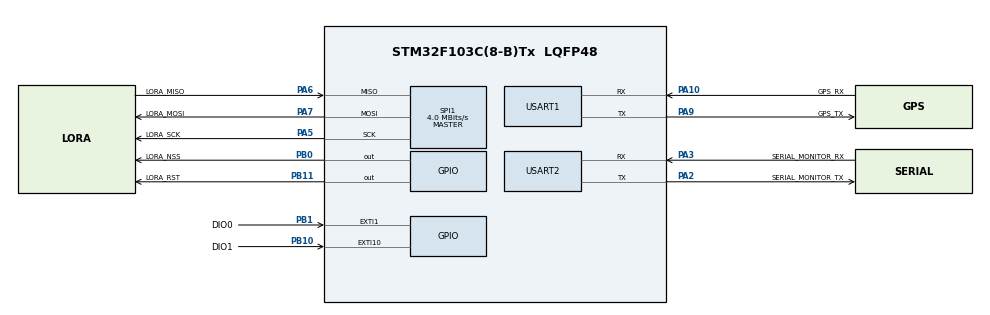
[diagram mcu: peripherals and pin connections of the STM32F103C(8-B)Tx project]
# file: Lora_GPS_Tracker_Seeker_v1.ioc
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Dma.Request0=USART1_RX
Dma.USART1_RX.0.Direction=DMA_PERIPH_TO_MEMORY
Dma.USART1_RX.0.Instance=DMA1_Channel5
Dma.USART1_RX.0.MemDataAlignment=DMA_MDATAALIGN_BYTE
Dma.USART1_RX.0.MemInc=DMA_MINC_ENABLE
Dma.USART1_RX.0.Mode=DMA_CIRCULAR
Dma.USART1_RX.0.PeriphDataAlignment=DMA_PDATAALIGN_BYTE
Dma.USART1_RX.0.PeriphInc=DMA_PINC_DISABLE
Dma.USART1_RX.0.Priority=DMA_PRIORITY_LOW
Mcu.Family=STM32F1
Mcu.Name=STM32F103C(8-B)Tx
Mcu.Package=LQFP48
NVIC.DMA1_Channel5_IRQn=true\:0\:0\:false\:false\:true\:false\:true\:true
NVIC.PriorityGroup=NVIC_PRIORITYGROUP_4
NVIC.USART1_IRQn=true\:0\:0\:false\:false\:true\:true\:true\:true
PA10.GPIO_Label=GPS_RX
PA10.Mode=Asynchronous
PA10.Signal=USART1_RX
PA2.GPIO_Label=SERIAL_MONITOR_TX
PA2.Mode=Asynchronous
PA2.Signal=USART2_TX
PA3.GPIO_Label=SERIAL_MONITOR_RX
PA3.Mode=Asynchronous
PA3.Signal=USART2_RX
PA5.GPIO_Label=LORA_SCK
PA5.Mode=Full_Duplex_Master
PA5.Signal=SPI1_SCK
PA6.GPIO_Label=LORA_MISO
PA6.Mode=Full_Duplex_Master
PA6.Signal=SPI1_MISO
PA7.GPIO_Label=LORA_MOSI
PA7.Mode=Full_Duplex_Master
PA7.Signal=SPI1_MOSI
PA9.GPIO_Label=GPS_TX
PA9.Mode=Asynchronous
PA9.Signal=USART1_TX
PB0.GPIO_Label=LORA_NSS
PB0.GPIO_Speed=GPIO_SPEED_FREQ_HIGH
PB0.PinState=GPIO_PIN_SET
PB0.Signal=GPIO_Output
PB1.GPIO_Label=DIO0
PB1.Signal=GPXTI1
PB10.GPIO_Label=DIO1
PB10.Signal=GPXTI10
PB11.GPIO_Label=LORA_RST
PB11.GPIO_Speed=GPIO_SPEED_FREQ_MEDIUM
PB11.PinState=GPIO_PIN_SET
PB11.Signal=GPIO_Output
ProjectManager.HeapSize=0x200
ProjectManager.StackSize=0x400
ProjectManager.TargetToolchain=STM32CubeIDE
RCC.APB1Freq_Value=8000000
RCC.APB2Freq_Value=8000000
SPI1.CalculateBaudRate=4.0 MBits/s
SPI1.Direction=SPI_DIRECTION_2LINES
SPI1.Mode=SPI_MODE_MASTER
SPI1.VirtualType=VM_MASTER
USART1.VirtualMode=VM_ASYNC
USART2.VirtualMode=VM_ASYNC
VP_SYS_VS_ND.Mode=No_Debug
board=custom

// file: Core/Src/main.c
/* USER CODE BEGIN Header */
/**
  ******************************************************************************
  * @file           : main.c
  * @brief          : Main program body
  ******************************************************************************
  * @attention
  *
  * Copyright (c) 2026 STMicroelectronics.
  * All rights reserved.
  *
  * This software is licensed under terms that can be found in the LICENSE file
  * in the root directory of this software component.
  * If no LICENSE file comes with this software, it is provided AS-IS.
  *
  ******************************************************************************
  */
/* USER CODE END Header */
#include "main.h"

/* USER CODE BEGIN Includes */
#include <stdio.h>
#include <stdint.h>
#include <string.h>
#include "LoRa.h"
#include "lwgps.h"			// To be added later when config GPS Functionality

/* USER CODE END Includes */

/* USER CODE BEGIN PD */
#define ROLE_TAG          0        /* 1 = tag board, 0 = seeker board */
#define GPS_RX_BUF_SIZE   1024U

#define MSG_WAKE   0x01
#define MSG_ACK    0x02
#define MSG_GPS    0x03
#define MY_TAG_ID  0x01
#define SYNC_WORD  0x12

#define TAG_SLEEP_MS      5000U
#define WAKE_PREAMBLE     6000U    /* symbols: ~6.1 s at SF7/125k, must be longer than TAG_SLEEP_MS */
#define TAG_ACK_WAIT_MS   10000U
#define SEEKER_LISTEN_MS  4000U
#define GPS_SEND_MS       1000U

/* USER CODE END PD */

SPI_HandleTypeDef hspi1;

UART_HandleTypeDef huart1;
UART_HandleTypeDef huart2;
DMA_HandleTypeDef hdma_usart1_rx;

/* USER CODE BEGIN PV */
/***************** GPS TESTING CODE BEGIN *********************/
static lwgps_t           hgps;                        /* lwgps handle */
static uint8_t           gps_dma_buf[GPS_RX_BUF_SIZE];
static volatile uint16_t gps_head = 0;                /* written in callback (where DMA has reached) */
static uint16_t          gps_tail = 0;                /* how far main loop has parsed */

/******************** GPS TESTING CODE END *******************/
char dbg[64];				// Added for printing debug

/* USER CODE END PV */

void SystemClock_Config(void);
static void MX_GPIO_Init(void);
static void MX_DMA_Init(void);
static void MX_USART2_UART_Init(void);
static void MX_USART1_UART_Init(void);
static void MX_SPI1_Init(void);
/* USER CODE BEGIN PFP */
void UART_Print(char *message);

/* USER CODE END PFP */

/* USER CODE BEGIN 0 */
/* Private user code ---------------------------------------------------------*/
/* USER CODE BEGIN 0 */
void UART_Print(char *message)
{
    HAL_UART_Transmit(&huart2,
                      (uint8_t*)message,
                      strlen(message),
                      HAL_MAX_DELAY);
}

static void lora_set_preamble(LoRa* l, uint16_t n)
{
    LoRa_write(l, 0x20, n >> 8);      // RegPreambleMsb
    LoRa_write(l, 0x21, n & 0xFF);    // RegPreambleLsb
}

/* 12-byte GPS packet: [type][id][seq][fix][lat e6 (4B)][lon e6 (4B)] */
//static uint8_t gps_pack(uint8_t* p, uint8_t seq)
//{
//    int32_t lat = (int32_t)((double)hgps.latitude  * 1000000.0);
//    int32_t lon = (int32_t)((double)hgps.longitude * 1000000.0);
//    p[0] = MSG_GPS; p[1] = MY_TAG_ID; p[2] = seq; p[3] = hgps.is_valid ? 1 : 0;
//    memcpy(&p[4], &lat, 4);
//    memcpy(&p[8], &lon, 4);
//    return 12;
//}
//
///********************* GPS TESTING FUNCTION BEGIN **************************/

/* Feed whatever new bytes DMA has dropped into the buffer to lwgps */
static void gps_poll(void)
{
    uint16_t head = gps_head;           /* single read of the volatile */

    if (head == gps_tail) {
//    	UART_Print("Inside head == gps_tail");
        return;                         /* nothing new */
    }

//    /* DEBUG: echo raw GPS bytes to serial monitor */
//    if (head > gps_tail) {
////    	UART_Print("Inside head > gps_tail... should print data\r\n");
//        HAL_UART_Transmit(&huart2, &gps_dma_buf[gps_tail], head - gps_tail, 100);
//    } else {
////    	UART_Print("Inside head < gps_tail... should print data\r\n");
//
//        HAL_UART_Transmit(&huart2, &gps_dma_buf[gps_tail], GPS_RX_BUF_SIZE - gps_tail, 100);
//        if (head > 0) HAL_UART_Transmit(&huart2, &gps_dma_buf[0], head, 100);
//    }

    if (head > gps_tail) {              /* simple case, no wrap */
        lwgps_process(&hgps, &gps_dma_buf[gps_tail], head - gps_tail);
    } else {                            /* wrapped: tail->end, then 0->head */
        lwgps_process(&hgps, &gps_dma_buf[gps_tail], GPS_RX_BUF_SIZE - gps_tail);
        if (head > 0) {
            lwgps_process(&hgps, &gps_dma_buf[0], head);
        }
    }
    gps_tail = head % GPS_RX_BUF_SIZE;
}

/* Print one line on USART2 */
//static void gps_print(void)
//{
//    char msg[200];
//    int  n;
////    int validity = hgps.is_valid;
////    snprintf(dbg, sizeof(dbg), "hgps.is_valid = %d\r\n", validity);
////    UART_Print(dbg);
//    if (!hgps.is_valid) {
////    	UART_Print("Still inside IF statement\r\n");
//        n = snprintf(msg, sizeof(msg),
//                     "No fix yet | sats in view: %d | sats in use: %d\r\n",
//                     (int)hgps.sats_in_view, (int)hgps.sats_in_use);
//    } else {
////    	UART_Print("Inside Else statement... Should be working now\r\n");
//        n = snprintf(msg, sizeof(msg), "Lat: %.6f  Lon: %.6f  Alt: %.1f m  Speed: %.1f km/h  " "Sats: %d  UTC: %02d:%02d:%02d\r\n",(double)hgps.latitude,(double)hgps.longitude,(double)hgps.altitude,(double)lwgps_to_speed(hgps.speed, LWGPS_SPEED_KPH),(int)hgps.sats_in_use,(int)hgps.hours, (int)hgps.minutes, (int)hgps.seconds);
//    }
//    HAL_UART_Transmit(&huart2, (uint8_t *)msg, (uint16_t)n, 100);
//}

/******************************************** GPS TESTING CODE END *****************************************/

/* USER CODE END 0 */

int main(void)
{

  /* MCU Configuration--------------------------------------------------------*/

  /* Reset of all peripherals, Initializes the Flash interface and the Systick. */
  HAL_Init();

  /* Configure the system clock */
  SystemClock_Config();

  /* Initialize all configured peripherals */
  MX_GPIO_Init();
  MX_DMA_Init();
  MX_USART2_UART_Init();
  MX_USART1_UART_Init();
  MX_SPI1_Init();
  /* USER CODE BEGIN 2 */
  UART_Print("HELLO MAIN\r\n");
  LoRa myLora;

  myLora = newLoRa();

  myLora.CS_pin = LORA_NSS_Pin;
  myLora.CS_port = LORA_NSS_GPIO_Port;
  myLora.reset_pin = LORA_RST_Pin;
  myLora.reset_port = LORA_RST_GPIO_Port;
  myLora.DIO0_pin = DIO0_Pin;
  myLora.DIO0_port = DIO0_GPIO_Port;
  myLora.hSPIx = &hspi1;

  uint16_t st = LoRa_init(&myLora);
  sprintf(dbg, "LoRa_Status: %d\r\n", st);
  UART_Print(dbg);
  if (st != 200) { UART_Print("LoRa init failed, stopping\r\n"); while (1); }

  LoRa_write(&myLora, 0x39, SYNC_WORD);   // RegSyncWord, set after init, same on both boards

  uint8_t rx[16];
  uint8_t n;

//  uint16_t LoRa_status = LoRa_init(&myLora);
//
//  char buffer[50];
//
//  uint16_t value = 123;
//
//  sprintf(buffer, "Value = %d\r\n", value);
//
//  UART_Print(buffer);
//
//  sprintf(buffer, "LoRa_Status: %d\r\n", LoRa_status);
//
//  UART_Print(buffer);
//
//  if(LoRa_status != LORA_OK){
//  		//This is a basic version of Cad_Mode that runs it in an infinite loop
//	  UART_Print("ERROR: The LoRa Module is not able to initialize !\r\n");
//
//  	}

  /************************** GPS TESTING CODE BEGIN ******************************/
  lwgps_init(&hgps);

  if (HAL_UARTEx_ReceiveToIdle_DMA(&huart1, gps_dma_buf, GPS_RX_BUF_SIZE) != HAL_OK) {
      const char *e = "DMA start FAILED\r\n";
      HAL_UART_Transmit(&huart2, (uint8_t *)e, strlen(e), 100);
  }

  const char *hello = "GPS demo started, waiting for NMEA data...\r\n";
  HAL_UART_Transmit(&huart2, (uint8_t *)hello, strlen(hello), 100);

  //uint32_t last_print = HAL_GetTick();

  /************************ GPS TESTING CODE END *******************************/

  /* USER CODE END 2 */

  /* Infinite loop */
  /* USER CODE BEGIN WHILE */
  //    /* USER CODE BEGIN 3 */
  //  }
  while (1)
  {
 #if ROLE_TAG
  			UART_Print("[TAG] sleep\r\n");
  			LoRa_gotoMode(&myLora, SLEEP_MODE);
  			uint32_t t0 = HAL_GetTick();
  			while (HAL_GetTick() - t0 < TAG_SLEEP_MS) gps_poll();   // placeholder for RTC + Stop mode later

  			int8_t cad = LoRa_startcadmode(&myLora, 200);
  			if (cad < 0) UART_Print("[TAG] CAD timeout\r\n");
  			if (cad != 1) continue;                                  // clear: back to sleep
  			UART_Print("[TAG] CAD detected, checking sync word\r\n");

  			n = LoRa_receive(&myLora, rx, sizeof(rx), 7000);
  			if (!(n >= 3 && rx[0] == MSG_WAKE && rx[1] == MY_TAG_ID)) {
  				UART_Print("[TAG] no valid WAKE, back to sleep\r\n");
  				continue;
  			}

  			uint8_t seq = rx[2];
  			while (1) {
  				HAL_Delay(20);                                       // let the seeker switch TX to RX
  				uint8_t ack[3] = { MSG_ACK, MY_TAG_ID, seq };
  				LoRa_transmit(&myLora, ack, 3, 500);
  				UART_Print("[TAG] ACK sent, waiting\r\n");

  				uint8_t woke = 0;
  				t0 = HAL_GetTick();
  				while (HAL_GetTick() - t0 < TAG_ACK_WAIT_MS) {
  					n = LoRa_receive(&myLora, rx, sizeof(rx), 7000);
  					if (n >= 3 && rx[0] == MSG_WAKE && rx[1] == MY_TAG_ID) { seq = rx[2]; woke = 1; break; }
  				}
  				if (!woke) break;                                    // silence: seeker got the ACK
  				UART_Print("[TAG] WAKE again, resending ACK\r\n");
  			}

  			UART_Print("[TAG] lost mode\r\n");
  			seq = 0;
  			while (1) {
  				uint8_t pkt[12];
  				gps_poll();
  				gps_pack(pkt, seq++);
  				LoRa_transmit(&myLora, pkt, 12, 500);
  				t0 = HAL_GetTick();
  				while (HAL_GetTick() - t0 < GPS_SEND_MS) gps_poll();
  			}

#else   /* ---------------- SEEKER ---------------- */
  			uint8_t found = 0;

  			UART_Print("[SEEKER] boot listen\r\n");
  			uint32_t t0 = HAL_GetTick();
  			while (HAL_GetTick() - t0 < SEEKER_LISTEN_MS) {
  				n = LoRa_receive(&myLora, rx, sizeof(rx), 500);
  				if (n >= 12 && rx[0] == MSG_GPS && rx[1] == MY_TAG_ID) { found = 1; break; }   // tag already in lost mode
  			}

  			uint8_t seq = 0;
  			while (!found) {
  				uint8_t wake[3] = { MSG_WAKE, MY_TAG_ID, ++seq };
  				UART_Print("[SEEKER] TX WAKE (long preamble)\r\n");
  				lora_set_preamble(&myLora, WAKE_PREAMBLE);
  				LoRa_transmit(&myLora, wake, 3, 8000);
  				lora_set_preamble(&myLora, 8);

  				n = LoRa_receive(&myLora, rx, sizeof(rx), 1000);
  				if (n >= 3 && rx[0] == MSG_ACK && rx[1] == MY_TAG_ID) {
  					UART_Print("[SEEKER] ACK received\r\n");
  					found = 1;
  				} else {
  					UART_Print("[SEEKER] no ACK, retrying\r\n");
  				}
  			}

  			UART_Print("[SEEKER] lost mode\r\n");
  			LoRa_startReceiving(&myLora);                            // continuous RX
  			while (1) {
  				gps_poll();
  				n = LoRa_checkRx(&myLora, rx, sizeof(rx));
  				if (n >= 12 && rx[0] == MSG_GPS && rx[1] == MY_TAG_ID) {
  					int32_t lat, lon;
  					char msg[96];
  					memcpy(&lat, &rx[4], 4);
  					memcpy(&lon, &rx[8], 4);
  					sprintf(msg, "Tag seq=%d fix=%d lat=%ld lon=%ld rssi=%d\r\n",
  							rx[2], rx[3], (long)lat, (long)lon, LoRa_getRSSI(&myLora));
  					UART_Print(msg);
  				}
  			}
#endif
    	}
    /* USER CODE END 3 */
}

void SystemClock_Config(void)
{
  RCC_OscInitTypeDef RCC_OscInitStruct = {0};
  RCC_ClkInitTypeDef RCC_ClkInitStruct = {0};

  /** Initializes the RCC Oscillators according to the specified parameters
  * in the RCC_OscInitTypeDef structure.
  */
  RCC_OscInitStruct.OscillatorType = RCC_OSCILLATORTYPE_HSI;
  RCC_OscInitStruct.HSIState = RCC_HSI_ON;
  RCC_OscInitStruct.HSICalibrationValue = RCC_HSICALIBRATION_DEFAULT;
  RCC_OscInitStruct.PLL.PLLState = RCC_PLL_NONE;
  if (HAL_RCC_OscConfig(&RCC_OscInitStruct) != HAL_OK)
  {
    Error_Handler();
  }

  /** Initializes the CPU, AHB and APB buses clocks
  */
  RCC_ClkInitStruct.ClockType = RCC_CLOCKTYPE_HCLK|RCC_CLOCKTYPE_SYSCLK
                              |RCC_CLOCKTYPE_PCLK1|RCC_CLOCKTYPE_PCLK2;
  RCC_ClkInitStruct.SYSCLKSource = RCC_SYSCLKSOURCE_HSI;
  RCC_ClkInitStruct.AHBCLKDivider = RCC_SYSCLK_DIV1;
  RCC_ClkInitStruct.APB1CLKDivider = RCC_HCLK_DIV1;
  RCC_ClkInitStruct.APB2CLKDivider = RCC_HCLK_DIV1;

  if (HAL_RCC_ClockConfig(&RCC_ClkInitStruct, FLASH_LATENCY_0) != HAL_OK)
  {
    Error_Handler();
  }
}

static void MX_SPI1_Init(void)
{

  /* SPI1 parameter configuration*/
  hspi1.Instance = SPI1;
  hspi1.Init.Mode = SPI_MODE_MASTER;
  hspi1.Init.Direction = SPI_DIRECTION_2LINES;
  hspi1.Init.DataSize = SPI_DATASIZE_8BIT;
  hspi1.Init.CLKPolarity = SPI_POLARITY_LOW;
  hspi1.Init.CLKPhase = SPI_PHASE_1EDGE;
  hspi1.Init.NSS = SPI_NSS_SOFT;
  hspi1.Init.BaudRatePrescaler = SPI_BAUDRATEPRESCALER_2;
  hspi1.Init.FirstBit = SPI_FIRSTBIT_MSB;
  hspi1.Init.TIMode = SPI_TIMODE_DISABLE;
  hspi1.Init.CRCCalculation = SPI_CRCCALCULATION_DISABLE;
  hspi1.Init.CRCPolynomial = 10;
  if (HAL_SPI_Init(&hspi1) != HAL_OK)
  {
    Error_Handler();
  }

}

static void MX_USART1_UART_Init(void)
{

  huart1.Instance = USART1;
  huart1.Init.BaudRate = 115200;
  huart1.Init.WordLength = UART_WORDLENGTH_8B;
  huart1.Init.StopBits = UART_STOPBITS_1;
  huart1.Init.Parity = UART_PARITY_NONE;
  huart1.Init.Mode = UART_MODE_TX_RX;
  huart1.Init.HwFlowCtl = UART_HWCONTROL_NONE;
  huart1.Init.OverSampling = UART_OVERSAMPLING_16;
  if (HAL_UART_Init(&huart1) != HAL_OK)
  {
    Error_Handler();
  }

}

static void MX_USART2_UART_Init(void)
{

  huart2.Instance = USART2;
  huart2.Init.BaudRate = 115200;
  huart2.Init.WordLength = UART_WORDLENGTH_8B;
  huart2.Init.StopBits = UART_STOPBITS_1;
  huart2.Init.Parity = UART_PARITY_NONE;
  huart2.Init.Mode = UART_MODE_TX_RX;
  huart2.Init.HwFlowCtl = UART_HWCONTROL_NONE;
  huart2.Init.OverSampling = UART_OVERSAMPLING_16;
  if (HAL_UART_Init(&huart2) != HAL_OK)
  {
    Error_Handler();
  }

}

static void MX_DMA_Init(void)
{

  /* DMA controller clock enable */
  __HAL_RCC_DMA1_CLK_ENABLE();

  /* DMA interrupt init */
  /* DMA1_Channel5_IRQn interrupt configuration */
  HAL_NVIC_SetPriority(DMA1_Channel5_IRQn, 0, 0);
  HAL_NVIC_EnableIRQ(DMA1_Channel5_IRQn);

}

static void MX_GPIO_Init(void)
{
  GPIO_InitTypeDef GPIO_InitStruct = {0};

  /* GPIO Ports Clock Enable */
  __HAL_RCC_GPIOA_CLK_ENABLE();
  __HAL_RCC_GPIOB_CLK_ENABLE();

  /*Configure GPIO pin Output Level */
  HAL_GPIO_WritePin(GPIOB, LORA_NSS_Pin|LORA_RST_Pin, GPIO_PIN_SET);

  /*Configure GPIO pin : LORA_NSS_Pin */
  GPIO_InitStruct.Pin = LORA_NSS_Pin;
  GPIO_InitStruct.Mode = GPIO_MODE_OUTPUT_PP;
  GPIO_InitStruct.Pull = GPIO_NOPULL;
  GPIO_InitStruct.Speed = GPIO_SPEED_FREQ_HIGH;
  HAL_GPIO_Init(LORA_NSS_GPIO_Port, &GPIO_InitStruct);

  /*Configure GPIO pins : DIO0_Pin DIO1_Pin */
  GPIO_InitStruct.Pin = DIO0_Pin|DIO1_Pin;
  GPIO_InitStruct.Mode = GPIO_MODE_IT_RISING;
  GPIO_InitStruct.Pull = GPIO_NOPULL;
  HAL_GPIO_Init(GPIOB, &GPIO_InitStruct);

  /*Configure GPIO pin : LORA_RST_Pin */
  GPIO_InitStruct.Pin = LORA_RST_Pin;
  GPIO_InitStruct.Mode = GPIO_MODE_OUTPUT_PP;
  GPIO_InitStruct.Pull = GPIO_NOPULL;
  GPIO_InitStruct.Speed = GPIO_SPEED_FREQ_MEDIUM;
  HAL_GPIO_Init(LORA_RST_GPIO_Port, &GPIO_InitStruct);

}

void Error_Handler(void)
{
  __disable_irq();
  while (1)
  {
  }
}
